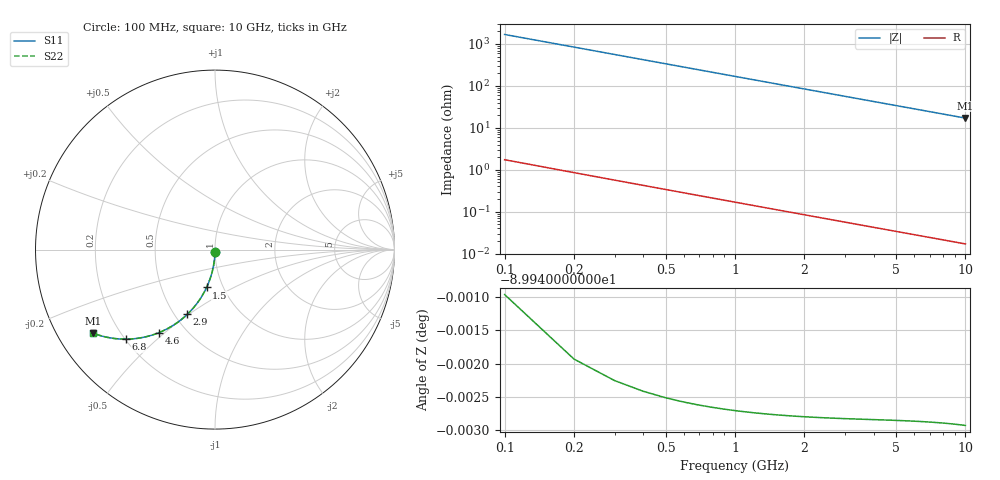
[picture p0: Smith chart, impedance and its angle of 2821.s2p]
# Hz S RI R 50.00
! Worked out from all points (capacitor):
!   100 points, 100 MHz to 10 GHz, reference 50 ohm
!   read as one part in shunt: C = 941 fF near 100 MHz
!   lowest |Z| = 17.1 ohm at 10 GHz (marker M1)
!   S11 on the Smith chart (normalised r, x): 100 MHz: 1.00, -0.03; 1.5 GHz: 0.84, -0.37; 2.9 GHz: 0.58, -0.49; 4.6 GHz: 0.35, -0.48; 6.8 GHz: 0.20, -0.40; 10 GHz: 0.11, -0.31
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1e8  -0.000232 -0.0148  0.9998 -0.0148  0.9998 -0.0148  -0.000232 -0.0148
2e8  -0.000902 -0.0295  0.9991 -0.0296  0.9991 -0.0296  -0.000902 -0.0295
3e8  -0.00201 -0.0442  0.998 -0.0443  0.998 -0.0443  -0.00201 -0.0442
4e8  -0.00354 -0.0589  0.9965 -0.059  0.9965 -0.059  -0.00354 -0.0589
5e8  -0.00551 -0.0735  0.9945 -0.0735  0.9945 -0.0735  -0.00551 -0.0735
6e8  -0.00789 -0.0879  0.9921 -0.088  0.9921 -0.088  -0.00789 -0.0879
7e8  -0.0107 -0.1023  0.9893 -0.1024  0.9893 -0.1024  -0.0107 -0.1023
9e8  -0.0175 -0.1306  0.9825 -0.1307  0.9825 -0.1307  -0.0175 -0.1306
1.2e9  -0.0306 -0.1717  0.9694 -0.1719  0.9694 -0.1719  -0.0306 -0.1717
1.5e9  -0.0469 -0.2109  0.9531 -0.2111  0.9531 -0.2111  -0.0469 -0.2109
1.8e9  -0.0661 -0.2478  0.9339 -0.2481  0.9339 -0.2481  -0.0661 -0.2478
2.3e9  -0.1033 -0.3037  0.8967 -0.3041  0.8967 -0.3041  -0.1033 -0.3037
2.9e9  -0.1545 -0.3607  0.8455 -0.3611  0.8455 -0.3611  -0.1545 -0.3607
3.4e9  -0.2004 -0.3995  0.7996 -0.4  0.7996 -0.4  -0.2004 -0.3995
4e9  -0.2571 -0.4362  0.7429 -0.4368  0.7429 -0.4368  -0.2571 -0.4362
4.6e9  -0.3135 -0.463  0.6865 -0.4638  0.6865 -0.4638  -0.3135 -0.463
5.1e9  -0.3591 -0.4788  0.6409 -0.4797  0.6409 -0.4797  -0.3591 -0.4788
5.9e9  -0.428 -0.4938  0.572 -0.4948  0.572 -0.4948  -0.428 -0.4938
6.7e9  -0.4906 -0.4989  0.5094 -0.5  0.5094 -0.5  -0.4906 -0.4989
6.8e9  -0.4979 -0.4989  0.5021 -0.5001  0.5021 -0.5001  -0.4979 -0.4989
8.4e9  -0.6014 -0.4884  0.3986 -0.4898  0.3986 -0.4898  -0.6014 -0.4884
1e10  -0.6808 -0.4648  0.3192 -0.4665  0.3192 -0.4665  -0.6808 -0.4648
